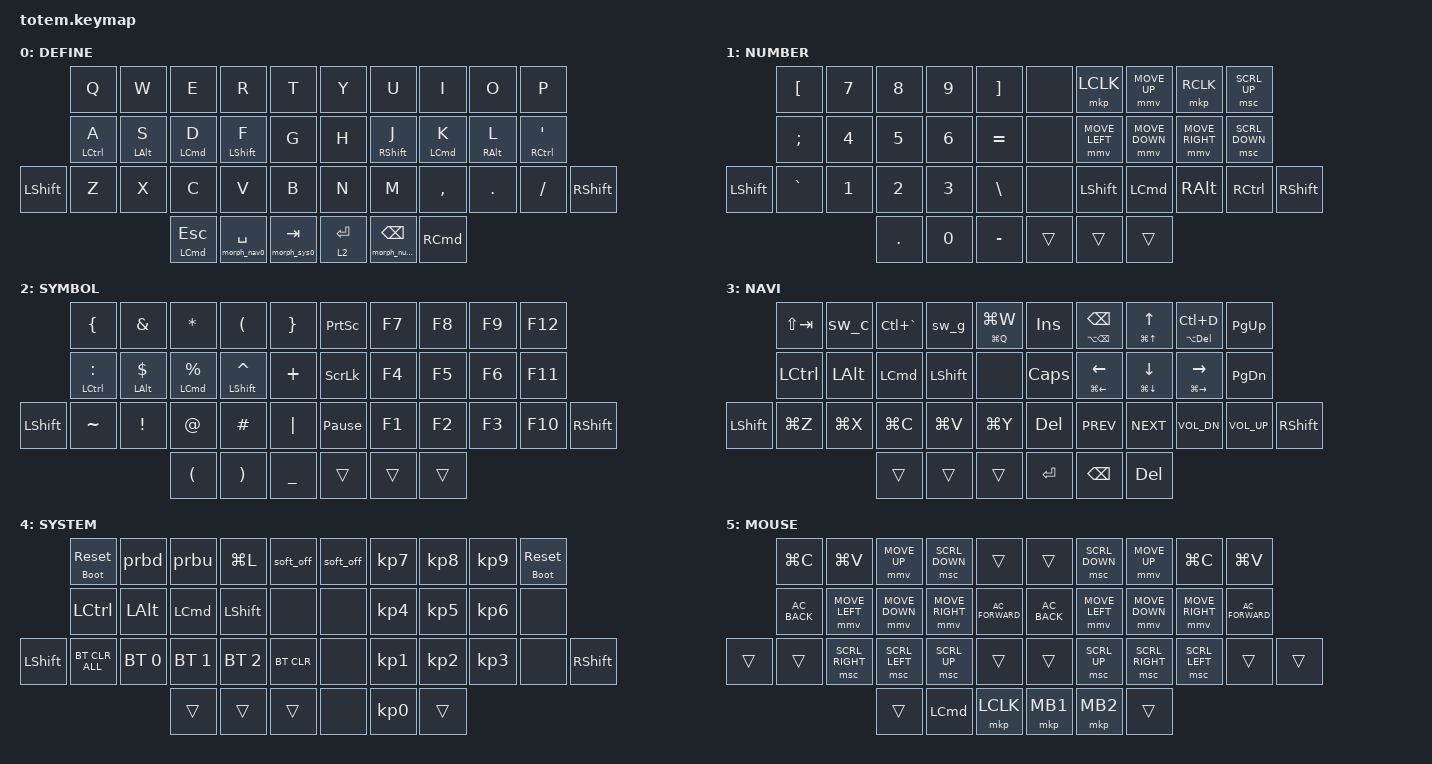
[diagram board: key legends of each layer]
#include <input/processors.dtsi>
#include <zephyr/dt-bindings/input/input-event-codes.h>

#define ZMK_POINTING_DEFAULT_MOVE_VAL 1800
#define ZMK_POINTING_DEFAULT_SCRL_VAL 13

#include <behaviors.dtsi>
#include <dt-bindings/zmk/bt.h>
#include <dt-bindings/zmk/keys.h>
#include <dt-bindings/zmk/pointing.h>

&mt {
    flavor = "hold-preferred";
    tapping-term-ms = <150>;
};

&lt {
    flavor = "balanced";
    tapping-term-ms = <200>;
    quick-tap-ms = <175>;
};

&caps_word { continue-list = <UNDERSCORE MINUS BSPC DEL N1 N2 N3 N4 N5 N6 N7 N8 N9 N0>; };

&mmv {
    acceleration-exponent = <1>;
    time-to-max-speed-ms = <1000>;
    trigger-period-ms = <6>;
};

&msc {
    acceleration-exponent = <0>;
    time-to-max-speed-ms = <400>;
    trigger-period-ms = <6>;
};

/ {
    behaviors {
        aml: alpha_mods_l {
            compatible = "zmk,behavior-hold-tap";
            #binding-cells = <2>;
            tapping-term-ms = <220>;
            quick-tap-ms = <175>;
            require-prior-idle-ms = <190>;
            flavor = "balanced";
            bindings = <&kp>, <&kp>;

            hold-trigger-key-positions = <5 6 7 8 9 15 16 17 18 19 26 27 28 29 30 31 32 33 34 35 36 37>;
            hold-trigger-on-release;
        };

        asl: alpha_shift_l {
            compatible = "zmk,behavior-hold-tap";
            #binding-cells = <2>;
            tapping-term-ms = <200>;
            quick-tap-ms = <175>;
            flavor = "balanced";
            bindings = <&kp>, <&kp>;

            hold-trigger-key-positions = <5 6 7 8 9 15 16 17 18 19 26 27 28 29 30 31 32 33 34 35 36 37>;
            hold-trigger-on-release;
        };

        amr: alpha_mods_r {
            compatible = "zmk,behavior-hold-tap";
            #binding-cells = <2>;
            tapping-term-ms = <220>;
            quick-tap-ms = <175>;
            require-prior-idle-ms = <190>;
            flavor = "balanced";
            bindings = <&kp>, <&kp>;

            hold-trigger-key-positions = <0 1 2 3 4 10 11 12 13 14 20 21 22 23 24 25 32 33 34 35 36 37>;
            hold-trigger-on-release;
        };

        asr: alpha_shift_r {
            compatible = "zmk,behavior-hold-tap";
            #binding-cells = <2>;
            tapping-term-ms = <200>;
            quick-tap-ms = <175>;
            flavor = "balanced";
            bindings = <&kp>, <&kp>;

            hold-trigger-key-positions = <0 1 2 3 4 10 11 12 13 14 20 21 22 23 24 25 32 33 34 35 36 37>;
            hold-trigger-on-release;
        };

        ht: hold_tap {
            compatible = "zmk,behavior-hold-tap";
            #binding-cells = <2>;
            tapping-term-ms = <200>;
            quick-tap-ms = <175>;
            flavor = "tap-preferred";
            bindings = <&kp>, <&kp>;

            hold-trigger-key-positions = <32 33 34 35 36 37>;
        };

        morph_num0: morph_num0 {
            compatible = "zmk,behavior-mod-morph";
            #binding-cells = <0>;
            bindings = <&mo 1>, <&to 1>;

            mods = <(MOD_LSFT)>;
        };

        num_ht: num_layer_hold_tap {
            compatible = "zmk,behavior-hold-tap";
            #binding-cells = <2>;
            tapping-term-ms = <200>;
            quick-tap-ms = <175>;
            flavor = "balanced";
            bindings = <&morph_num0>, <&kp>;
        };

        morph_nav0: morph_nav0 {
            compatible = "zmk,behavior-mod-morph";
            #binding-cells = <0>;
            bindings = <&mo 3>, <&to 3>;

            mods = <(MOD_LSFT)>;
        };

        nav_ht: nav_layer_hold_tap {
            compatible = "zmk,behavior-hold-tap";
            #binding-cells = <2>;
            tapping-term-ms = <200>;
            quick-tap-ms = <175>;
            flavor = "balanced";
            bindings = <&morph_nav0>, <&kp>;
        };

        morph_sys0: morph_sys0 {
            compatible = "zmk,behavior-mod-morph";
            #binding-cells = <0>;
            bindings = <&mo 4>, <&to 4>;

            mods = <(MOD_LSFT)>;
        };

        sys_ht: sys_layer_hold_tap {
            compatible = "zmk,behavior-hold-tap";
            #binding-cells = <2>;
            tapping-term-ms = <200>;
            quick-tap-ms = <175>;
            flavor = "balanced";
            bindings = <&morph_sys0>, <&kp>;
        };

        sw_a: swapper_alttab {
            compatible = "zmk,behavior-smart-toggle";
            #binding-cells = <0>;
            bindings = <&kp LALT>, <&kp TAB>;

            ignored-key-positions = <32 33 34 35 36 37 0 2 16 17 18 7>;
        };

        sw_c: swapper_ctrltab {
            compatible = "zmk,behavior-smart-toggle";
            #binding-cells = <0>;
            bindings = <&kp LCTRL>, <&kp TAB>;

            ignored-key-positions = <32 33 34 35 36 37 0 2 16 17 18 7>;
        };

        sw_g: swapper_guitab {
            compatible = "zmk,behavior-smart-toggle";
            #binding-cells = <0>;
            bindings = <&kp LGUI>, <&kp TAB>;

            ignored-key-positions = <32 33 34 35 36 37 0 2 16 17 18 7>;
        };

        rst_boot: rst_boot {
            compatible = "zmk,behavior-hold-tap";
            #binding-cells = <2>;
            tapping-term-ms = <500>;
            flavor = "tap-preferred";
            bindings = <&bootloader>, <&sys_reset>;
        };

        prbu: pros_bri_up {
            compatible = "zmk,behavior-prospector-brightness";
            #binding-cells = <0>;
            display-name = "Prospector Brightness Up";
            direction = <1>;
        };

        prbd: pros_bri_dn {
            compatible = "zmk,behavior-prospector-brightness";
            #binding-cells = <0>;
            display-name = "Prospector Brightness Down";
            direction = <(-1)>;
        };

        mou_ht: mouse_layer_hold_tap {
            compatible = "zmk,behavior-hold-tap";
            #binding-cells = <2>;
            tapping-term-ms = <200>;
            quick-tap-ms = <175>;
            flavor = "balanced";
            bindings = <&tog>, <&kp>;
        };
    };

    combos {
        compatible = "zmk,combos";

        combo_esc {
            timeout-ms = <80>;
            require-prior-idle-ms = <100>;
            bindings = <&kp ESC>;
            key-positions = <0 1>;
            layers = <0>;
        };

        combo_lpar {
            timeout-ms = <40>;
            require-prior-idle-ms = <100>;
            bindings = <&kp LPAR>;
            key-positions = <12 13>;
            layers = <0>;
        };

        combo_rpar {
            timeout-ms = <40>;
            require-prior-idle-ms = <100>;
            bindings = <&kp RPAR>;
            key-positions = <16 17>;
            layers = <0>;
        };

        combo_lbkt {
            timeout-ms = <80>;
            require-prior-idle-ms = <100>;
            bindings = <&kp LBKT>;
            key-positions = <12 11>;
            layers = <0>;
        };

        combo_rbkt {
            timeout-ms = <80>;
            require-prior-idle-ms = <100>;
            bindings = <&kp RBKT>;
            key-positions = <17 18>;
            layers = <0>;
        };

        combo_sel_all {
            timeout-ms = <80>;
            require-prior-idle-ms = <100>;
            bindings = <&kp LG(A)>;
            key-positions = <11 12>;
            layers = <3>;
        };

        combo_key_re {
            timeout-ms = <40>;
            require-prior-idle-ms = <100>;
            bindings = <&key_repeat>;
            key-positions = <12 13>;
            layers = <3>;
        };

        combo_semi {
            timeout-ms = <40>;
            require-prior-idle-ms = <100>;
            bindings = <&kp SEMI>;
            key-positions = <27 28>;
            layers = <0>;
        };

        combo_colon {
            timeout-ms = <80>;
            require-prior-idle-ms = <100>;
            bindings = <&kp COLON>;
            key-positions = <28 29>;
            layers = <0>;
        };

        combo_mute {
            timeout-ms = <40>;
            require-prior-idle-ms = <200>;
            bindings = <&kp C_MUTE>;
            key-positions = <29 30>;
            layers = <3>;
        };

        combo_plpu {
            timeout-ms = <80>;
            require-prior-idle-ms = <200>;
            bindings = <&kp C_PP>;
            key-positions = <27 28>;
            layers = <3>;
        };

        combo_capswd {
            timeout-ms = <80>;
            require-prior-idle-ms = <200>;
            bindings = <&caps_word>;
            key-positions = <13 16>;
            layers = <0>;
        };

        combo_stdio {
            timeout-ms = <80>;
            require-prior-idle-ms = <500>;
            bindings = <&studio_unlock>;
            key-positions = <14 15>;
            layers = <4>;
        };

        combo_def {
            timeout-ms = <80>;
            require-prior-idle-ms = <200>;
            bindings = <&to 0>;
            key-positions = <13 16>;
            layers = <1 3 4 5>;
        };

        combo_plus {
            timeout-ms = <40>;
            require-prior-idle-ms = <100>;
            bindings = <&kp PLUS>;
            key-positions = <12 13>;
            layers = <1>;
        };

        combo_minus {
            timeout-ms = <40>;
            require-prior-idle-ms = <100>;
            bindings = <&kp MINUS>;
            key-positions = <2 3>;
            layers = <1>;
        };

        combo_star {
            timeout-ms = <80>;
            require-prior-idle-ms = <100>;
            bindings = <&kp STAR>;
            key-positions = <2 13>;
            layers = <1 0>;
        };

        combo_slash {
            timeout-ms = <80>;
            require-prior-idle-ms = <100>;
            bindings = <&kp SLASH>;
            key-positions = <12 3>;
            layers = <1>;
        };

        combo_comma {
            timeout-ms = <40>;
            require-prior-idle-ms = <100>;
            bindings = <&kp COMMA>;
            key-positions = <23 24>;
            layers = <1>;
        };

        combo_dot {
            timeout-ms = <80>;
            require-prior-idle-ms = <100>;
            bindings = <&kp DOT>;
            key-positions = <22 23>;
            layers = <1>;
        };

        combo_ret {
            timeout-ms = <80>;
            require-prior-idle-ms = <100>;
            bindings = <&kp RET>;
            key-positions = <11 12>;
            layers = <1>;
        };

        combo_tab {
            timeout-ms = <40>;
            require-prior-idle-ms = <100>;
            bindings = <&kp TAB>;
            key-positions = <1 2>;
            layers = <1 0>;
        };

        combo_plus_n {
            timeout-ms = <40>;
            require-prior-idle-ms = <100>;
            bindings = <&kp KP_PLUS>;
            key-positions = <16 17>;
            layers = <4>;
        };

        combo_minus_n {
            timeout-ms = <40>;
            require-prior-idle-ms = <100>;
            bindings = <&kp KP_MINUS>;
            key-positions = <6 7>;
            layers = <4>;
        };

        combo_star_n {
            timeout-ms = <80>;
            require-prior-idle-ms = <100>;
            bindings = <&kp KP_MULTIPLY>;
            key-positions = <6 17>;
            layers = <4>;
        };

        combo_slash_n {
            timeout-ms = <80>;
            require-prior-idle-ms = <100>;
            bindings = <&kp KP_DIVIDE>;
            key-positions = <16 7>;
            layers = <4>;
        };

        combo_comma_n {
            timeout-ms = <40>;
            require-prior-idle-ms = <100>;
            bindings = <&kp COMMA>;
            key-positions = <27 28>;
            layers = <4>;
        };

        combo_dot_n {
            timeout-ms = <80>;
            require-prior-idle-ms = <100>;
            bindings = <&kp KP_DOT>;
            key-positions = <28 29>;
            layers = <4>;
        };

        combo_ret_n {
            timeout-ms = <80>;
            require-prior-idle-ms = <100>;
            bindings = <&kp RET>;
            key-positions = <17 18>;
            layers = <4>;
        };

        combo_tab_n {
            timeout-ms = <40>;
            require-prior-idle-ms = <100>;
            bindings = <&kp TAB>;
            key-positions = <7 8>;
            layers = <4>;
        };

        mousert {
            bindings = <&tog 5>;
            key-positions = <16 17 18>;
            timeout-ms = <40>;
            require-prior-idle-ms = <100>;
            layers = <0 5>;
        };

        mouselt {
            bindings = <&tog 5>;
            key-positions = <11 12 13>;
            timeout-ms = <40>;
            require-prior-idle-ms = <100>;
            layers = <0 5>;
        };
    };

    keymap {
        compatible = "zmk,keymap";

        default_layer {
            display-name = "DEFINE";
            bindings = <
                &kp Q         &kp W        &kp E        &kp R              &kp T            &kp Y      &kp U                &kp I          &kp O        &kp P
                &aml LCTRL A  &aml LALT S  &asl LCMD D  &aml LEFT_SHIFT F  &kp G            &kp H      &amr RIGHT_SHIFT J   &asr LCMD K    &amr RALT L  &amr RCTRL SQT
&kp LEFT_SHIFT  &kp Z         &kp X        &kp C        &kp V              &kp B            &kp N      &kp M                &kp COMMA      &kp DOT      &kp SLASH       &kp RSHFT
                                           &ht LCMD ESC &nav_ht 0 SPACE    &sys_ht 0 TAB    &lt 2 RET  &num_ht 0 BACKSPACE  &kp RCMD
            >;
        };

        number_layer {
            display-name = "NUMBER";
            bindings = <
           &kp LBKT   &kp N7  &kp N8   &kp N9  &kp RBKT     &none   &mkp LCLK       &mmv MOVE_UP    &mkp RCLK        &msc SCRL_UP
           &kp SEMI   &kp N4  &kp N5   &kp N6  &kp EQUAL    &none   &mmv MOVE_LEFT  &mmv MOVE_DOWN  &mmv MOVE_RIGHT  &msc SCRL_DOWN
&kp LSHFT  &kp GRAVE  &kp N1  &kp N2   &kp N3  &kp BSLH     &none   &kp LEFT_SHIFT  &kp LCMD        &kp RALT         &kp RCTRL       &kp RSHFT
                              &kp DOT  &kp N0  &kp MINUS    &trans  &trans          &trans
            >;
        };

        symbol_layer {
            display-name = "SYMBOL";
            bindings = <
           &kp LBRC         &kp AMPS       &kp ASTRK       &kp LPAR              &kp RBRC     &kp PSCRN        &kp F7  &kp F8  &kp F9  &kp F12
           &mt LCTRL COLON  &mt LALT DLLR  &mt LCMD PRCNT  &mt LEFT_SHIFT CARET  &kp PLUS     &kp SLCK         &kp F4  &kp F5  &kp F6  &kp F11
&kp LSHFT  &kp TILDE        &kp EXCL       &kp AT          &kp HASH              &kp PIPE     &kp PAUSE_BREAK  &kp F1  &kp F2  &kp F3  &kp F10  &kp RSHFT
                                           &kp LPAR        &kp RPAR              &kp UNDER    &trans           &trans  &trans
            >;
        };

        navigation_layer {
            display-name = "NAVI";
            bindings = <
           &kp LS(TAB)  &sw_c      &kp LC(GRAVE) &sw_g           &ht LG(Q) LG(W)      &kp INS   &ht LA(BSPC) BSPC  &ht LG(UP) UP     &ht LA(DEL) LC(D)  &kp PG_UP
           &kp LCTRL    &kp LALT   &kp LCMD     &kp LEFT_SHIFT  &none                &kp CAPS  &ht LG(LEFT) LEFT  &ht LG(DOWN) DOWN &ht LG(RIGHT) RIGHT &kp PG_DN
&kp LSHFT  &kp LG(Z)    &kp LG(X)  &kp LG(C)    &kp LG(V)       &kp LG(Y)            &kp DEL   &kp C_PREV         &kp C_NEXT        &kp C_VOL_DN     &kp C_VOL_UP  &kp RSHFT
                                   &trans       &trans          &trans               &kp RET   &kp BSPC           &kp DEL
            >;
        };

        system_layer {
            display-name = "SYSTEM";
            bindings = <
           &rst_boot 0 0   &prbd         &prbu         &kp LG(L)       &soft_off     &soft_off  &kp KP_N7  &kp KP_N8  &kp KP_N9  &rst_boot 0 0
           &kp LCTRL       &kp LALT      &kp LCMD      &kp LEFT_SHIFT  &none         &none      &kp KP_N4  &kp KP_N5  &kp KP_N6  &none
&kp LSHFT  &bt BT_CLR_ALL  &bt BT_SEL 0  &bt BT_SEL 1  &bt BT_SEL 2    &bt BT_CLR    &none      &kp KP_N1  &kp KP_N2  &kp KP_N3  &none          &kp RSHFT
                                         &trans        &trans          &trans        &none      &kp KP_N0  &trans
            >;
        };

        MOUSE {
            display-name = "MOUSE";
            bindings = <
        &kp LG(C)   &kp LG(V)        &mmv MOVE_UP    &msc SCRL_DOWN   &trans        &trans      &msc SCRL_DOWN  &mmv MOVE_UP     &kp LG(C)        &kp LG(V)
        &kp C_AC_BACK  &mmv MOVE_LEFT   &mmv MOVE_DOWN  &mmv MOVE_RIGHT  &kp C_AC_FORWARD    &kp C_AC_BACK  &mmv MOVE_LEFT  &mmv MOVE_DOWN   &mmv MOVE_RIGHT  &kp C_AC_FORWARD
&trans  &trans      &msc SCRL_RIGHT  &msc SCRL_LEFT  &msc SCRL_UP     &trans        &trans      &msc SCRL_UP    &msc SCRL_RIGHT  &msc SCRL_LEFT   &trans      &trans
                                     &trans          &kp LCMD         &mkp LCLK     &mkp MB1    &mkp MB2        &trans
            >;
        };
    };
};
